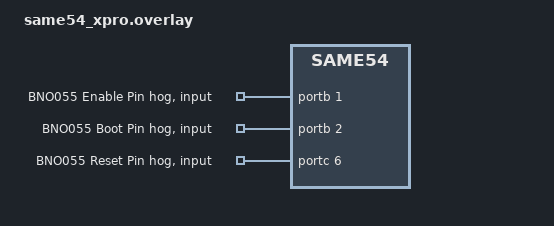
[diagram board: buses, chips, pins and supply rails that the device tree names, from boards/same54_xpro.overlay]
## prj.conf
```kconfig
CONFIG_SMF=y
CONFIG_GPIO=y
CONFIG_I2C=y
CONFIG_PWM=y
CONFIG_SENSOR=y
CONFIG_BNO055=y
CONFIG_BNO055_TRIGGER=y
CONFIG_EVENTS=y
```

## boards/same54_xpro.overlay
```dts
/ {
    aliases {
        userled = &pwm_led0;
        userbutton = &button0;
	};
};

&gmac{
	status="disabled";
};

&portb {
    gpio-controller;
    #gpio-cells = <2>;
    status = "okay";
    
    // Enable Pin Configuration
    enable_pin: enable {
        gpios = <1 GPIO_ACTIVE_HIGH>;
        gpio-hog;                     // Mark the pin as hogged
        line-name = "BNO055 Enable Pin";  // Label for the enable pin
    };

    boot_pin: boot {
        gpios = <2 GPIO_ACTIVE_HIGH>;
        gpio-hog;                     // Mark the pin as hogged
        line-name = "BNO055 Boot Pin";    // Label for the boot pin
    };
};

&portc {
    gpio-controller;
    #gpio-cells = <2>;
    status = "okay";

    //Reset Pin Configuration
    reset_pin: reset {
        gpios = <6 GPIO_ACTIVE_HIGH>; // Pin 28 for reset
        gpio-hog;                     // Mark the pin as hogged
        line-name = "BNO055 Reset Pin";   // Label for the reset pin
    };
};

&sercom7 {
	// add your sensor binding
};
```

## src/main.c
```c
#include <zephyr/kernel.h>
#include <zephyr/device.h>
#include <zephyr/drivers/i2c.h>
#include <zephyr/devicetree.h>
#include <zephyr/logging/log.h>
#include <zephyr/drivers/sensor.h>
#include <zephyr/drivers/gpio.h>
#include <zephyr/drivers/pwm.h>
#include <zephyr/smf.h>

// sensor library header file
#include <bno055.h>

//application header file
#include <app_pwm_state.h>
#include <app_button.h>
#include <app_sensor_state.h>


/* User defined object */
struct FSMContext stateMachineInfo;


// TODO #1: Event Based State Machine with funciton pointer mapping with respective states. 
const struct smf_state stateTable[NUM_STATES] = 
{
 
    
};


// TODO #10: Main function to initialize the SMF, kernel events, and start the state machine with a specific state.
int main(void)
{
        

}
```

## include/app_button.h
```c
#ifndef APP_BUTTON_STATE_H
#define APP_BUTTON_STATE_H

#include <app_pwm_state.h>


#define EVENT_BTN_PRESS BIT(0) // bit 0 for sw0 flag
#define DEBOUNCE_DELAY_MS 1000

#define SW0_NODE        DT_ALIAS(userbutton)
#if !DT_NODE_HAS_STATUS_OKAY(SW0_NODE)
#error "Unsupported board: sw0 devicetree alias is not defined"
#endif


int init_SW0(void);
void buttonPressed_handler(const struct device *dev, struct gpio_callback *cb, uint32_t pins);
void FSM_select(struct FSMContext* infoData);




#endif // APP_BUTTON_STATES_H
```

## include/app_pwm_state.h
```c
#ifndef APP_PWM_STATE_H
#define APP_PWM_STATE_H


// Assuming for 7-bit 
#define MIN_PERIOD PWM_SEC(1U) / 128U    // 7,812,500 ns
#define MAX_PERIOD PWM_SEC(1U)          // // 1 sec = 1,000,000,000 ns


#define TIMEOUT_FOUR_SEC K_SECONDS(4U)
#define TIMEOUT_TWO_SEC K_SECONDS(2U)

#define PERIOD_DOUBLE 2U
#define PERIOD_HALF_DIVISOR 2U

typedef enum  {
    PWM_INITIAL,     // LED OFF
    CALIBRATION,
    FIRST_STATE,       // Blink
    SECOND_STATE,      // periond
    SENSOR_INIT,       // BNO055 init
    SENSOR_SAMPLE,     // fetch the sample from the external sensor. 
    SENSOR_CONSOLE,    // formatted based for serial console
    ERROR_STATE,     // Error state
    NUM_STATES      // for array sizing (Just optional)
}APP_State;

/* User defined object */
struct FSMContext 
{   /* This must be first */
    struct smf_ctx ctx;
    /* Events for toggling */
    struct k_event smf_event;
    uint32_t events;
};
/* Object used in multiple files*/
extern struct pwm_dt_spec pwmBlink;
extern struct FSMContext stateMachineInfo;
extern const struct smf_state stateTable[NUM_STATES];

// Init sate function prototype
void initPWM_GPIO_ENTRY(void* ptrData);
void initPWM_RUN(void* ptrData);
void initPWM_EXIT(void* ptrData);

// Caliberation state function prototype
void calibratePWM_ENTRY(void* ptrData);
void calibration_EXIT(void* ptrData);

// S1 funciton prototype
void ledPWM_RUN(void* ptrData);
// void firstState_EXIT(void* ptrData);

// //S2 function prototype
// void secondState_ENTRY(void* ptrData);
void checkPeriod_RUN(void* ptrData);


// state with only error handling and resume
void errorHandle_RUN(void* ptrData);


#endif // APP_PWM_STATES_H
```

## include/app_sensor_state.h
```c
#ifndef APP_SENSOR_STATE_H
#define APP_SENSOR_STATE_H





void initI2CNode_ENTRY(void* ptrData);
void dataFetch_RUN(void* ptrData);
void dataFormat_RUN(void* ptrData);



#endif  // APP_SENSOR_STATE_H  
```

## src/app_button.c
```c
// Zephyr library header files
#include <zephyr/kernel.h>
#include <zephyr/sys/printk.h>
#include <zephyr/device.h>
#include <zephyr/drivers/pwm.h>
#include <zephyr/drivers/gpio.h>
#include <zephyr/smf.h>

// Application header with Enums, Structure and function prototype
#include <app_pwm_state.h>
#include <app_button.h>
#include <app_sensor_state.h>


// TODO #6: get devicetree node


// TODO #8: interrupt service routine for GPIO
void buttonPressed_handler(const struct device *dev, struct gpio_callback *cb, uint32_t pins)
{


}


// TODO #9: switch between two machine on interrupt event
void FSM_select(struct FSMContext* infoData)
{



}


// TODO #7: GPIO with interrupt configuration
int init_SW0(void)
{


}
```

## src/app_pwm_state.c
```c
// zephyr library header files
#include <zephyr/kernel.h>
#include <zephyr/sys/printk.h>
#include <zephyr/device.h>
#include <zephyr/sys/util.h>
#include <zephyr/drivers/pwm.h>
#include <zephyr/drivers/gpio.h>
#include <zephyr/smf.h>

// application header with Enums, Structure and function prototype
#include <app_pwm_state.h>
#include <app_button.h>
#include <app_sensor_state.h>

// TODO #1: get the devicetree node
struct pwm_dt_spec pwmBlink  = PWM_DT_SPEC_GET(DT_ALIAS(userled));


// Global variables
static uint32_t max_period;
static uint32_t period;
uint8_t direction = 0U;


/*
 * FSM 4 State Transition:
 *
 *	    ---> Init_ENTRY --> Init_RUN --> Init_EXIT -----------------------------|
 *                                                                              |
 *      |-----------------------------------------------------------------------|
 *      |
 *      |--> stateOne_ENTRY --> stateOne_RUN --> stateOne_exit -----------------|
 *                                                                              |
 *      |-----------------------------------------------------------------------|
 *      |
 *      |--> stateSecond_ENTRY --> stateSecond_RUN --> stateSecond_exit --------|
 *                                                                              |
 *      |-----------------------------------------------------------------------|
 *      |
 *      |--> errorHandle --> FIRST_S1    ---------------------------------------|
 *      |                                                                       |
 *                       --> INITIAL_S0  ---------------------------------------|
 */    


// TODO #: Checking if the PWM is ready or not 
void initPWM_GPIO_ENTRY(void* ptrData) 
{
        printk("Enter to Init (LED OFF)\r\n");
        
        if(!pwm_is_ready_dt(&pwmBlink))
        {
            printk("Error occure while PWM init\r\n");
            // Transition to error state
            smf_set_state(SMF_CTX(&stateMachineInfo), &stateTable[ERROR_STATE]);
        }
        if(0 != init_SW0())
        {
            printk("Error occure while GPIO init\r\n");
            // Transition to error state
            smf_set_state(SMF_CTX(&stateMachineInfo), &stateTable[ERROR_STATE]);
        }
        k_sleep(TIMEOUT_FOUR_SEC); 
}


//TODO #: Set the parameter to zero
void initPWM_RUN(void* ptrData)
{

        pwm_set_dt(&pwmBlink, 0, 0);  //(0 duty cycle)
        printk("Completed and PWM is ready\r\n");
        smf_set_state(SMF_CTX(&stateMachineInfo), &stateTable[CALIBRATION]); // Transition to caliberation mode
        k_sleep(TIMEOUT_FOUR_SEC); 

}

//TODO #: Exit from init PWM state
void initPWM_EXIT(void* ptrData)
{
        printk("Completed the Init PWM LED\r\n");
}

// TODO #: Calibrating for Maximumm period based on MCU clock
void calibratePWM_ENTRY(void* ptrData)
{
        printk("In CALIBRATION state\n");
        // Calibrate maximum period
        max_period = MAX_PERIOD;
        printk("Calibrated for max period %u nsec\r\n", max_period);
        k_sleep(TIMEOUT_FOUR_SEC); 
        while (pwm_set_dt(&pwmBlink, max_period, max_period / PERIOD_HALF_DIVISOR)) 
        {
            max_period /= PERIOD_HALF_DIVISOR;
            if (max_period < (5U * MIN_PERIOD)) 
            {
                printk("Error: PWM device doesn't support the period at least %lu\n", 4U * MIN_PERIOD);
                // Transition to error State
                smf_set_state(SMF_CTX(&stateMachineInfo), &stateTable[ERROR_STATE]);  
                break;
            }
        }
        
        period = max_period;
        k_sleep(TIMEOUT_FOUR_SEC); 
        smf_set_state(SMF_CTX(&stateMachineInfo), &stateTable[FIRST_STATE]); 

}

// Exiting from calibration state
void calibration_EXIT(void* ptrData)
{
        printk("Completed the caliberation for MAX period\r\n");
}


// Todo # Set Period and pulse for PWM using PWM interface API
// Note: need to add the button pressed event and state transition
void ledPWM_RUN(void* ptrData)
{
    int ret = 0;
        struct FSMContext* info = (struct FSMContext*)ptrData;
        if (info->events & EVENT_BTN_PRESS)
        {
            FSM_select(info);
        }else{
            printk("Period %u nsec\n", period);
            ret = pwm_set_dt(&pwmBlink, period, period / PERIOD_HALF_DIVISOR);
            if(ret)
            {
                printk("Error %d: failed to set pulse width in state S1\n", ret);
                smf_set_state(SMF_CTX(info), &stateTable[ERROR_STATE]); // Transition to S0 in case of error
            }

        k_sleep(TIMEOUT_FOUR_SEC); // Stay in S1 for 4 seconds before transitioning
        smf_set_state(SMF_CTX(info), &stateTable[SECOND_STATE]); // Transition to S2 (fast blink)
        }
    
}

// S2: Fast Blink with PWM LED
//Note: need to work on event flag for button interrupt and change state trnasistion from here two situation
void checkPeriod_RUN(void* ptrData) 
{
    struct FSMContext* info = (struct FSMContext*)ptrData;
        if (info->events & EVENT_BTN_PRESS)
        {
            FSM_select(info);
        }else{
            period = direction ? (period * PERIOD_DOUBLE) : (period / PERIOD_HALF_DIVISOR);
            printk("S2 %s\r\n", direction ? "Increment period" : "Decrement Period");
            if (period > max_period) {
                period = max_period / PERIOD_HALF_DIVISOR;
                direction = 0U;
            }else if (period < MIN_PERIOD){
                period = MIN_PERIOD * PERIOD_DOUBLE;
                direction = 1U;
            }
        
        k_sleep(TIMEOUT_FOUR_SEC); // Stay in S2 for 4 seconds before transitioning
        smf_set_state(SMF_CTX(info), &stateTable[FIRST_STATE]); // Transition back to S1 (slow blink)
        }
    
}


// Error State has only error actions
void errorHandle_RUN(void* ptrData)
{
    const struct FSMContext* info = (const struct FSMContext*)ptrData;
        if(info->ctx.previous == &stateTable[FIRST_STATE] || info->ctx.previous == &stateTable[SECOND_STATE])
        {
                smf_set_state(SMF_CTX(&info), &stateTable[CALIBRATION]);
        }else{
                // need to work on resetting the PMW module and its parameter
                smf_set_state(SMF_CTX(&info), &stateTable[PWM_INITIAL]);
        }

}
```

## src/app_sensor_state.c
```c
#include <zephyr/kernel.h>
#include <zephyr/device.h>
#include <zephyr/drivers/i2c.h>
#include <zephyr/devicetree.h>
#include <zephyr/drivers/sensor.h>
#include <zephyr/drivers/gpio.h>
#include <zephyr/smf.h>
// sensor library header file
#include <bno055.h>

// Application header with Enums, Structure and function prototype
#include <app_pwm_state.h>
#include <app_button.h>
#include <app_sensor_state.h>


// TODO #2: get the devicetree node and allocate memory for data



// TODO #3: Check if the I2C slave device is ready or not
void initI2CNode_ENTRY(void* ptrData)
{


	
}

// TODO #4: fetch the data from sensor, filter based on the channel of the sensor, and transition to SENSOR_CONSOLE
void dataFetch_RUN(void* ptrData)
{


	 
}

// TODO #5: format the buffered data to present on serial terminal and transition to SENSOR_SAMPLE state
void dataFormat_RUN(void* ptrData)
{


	 
}
```
